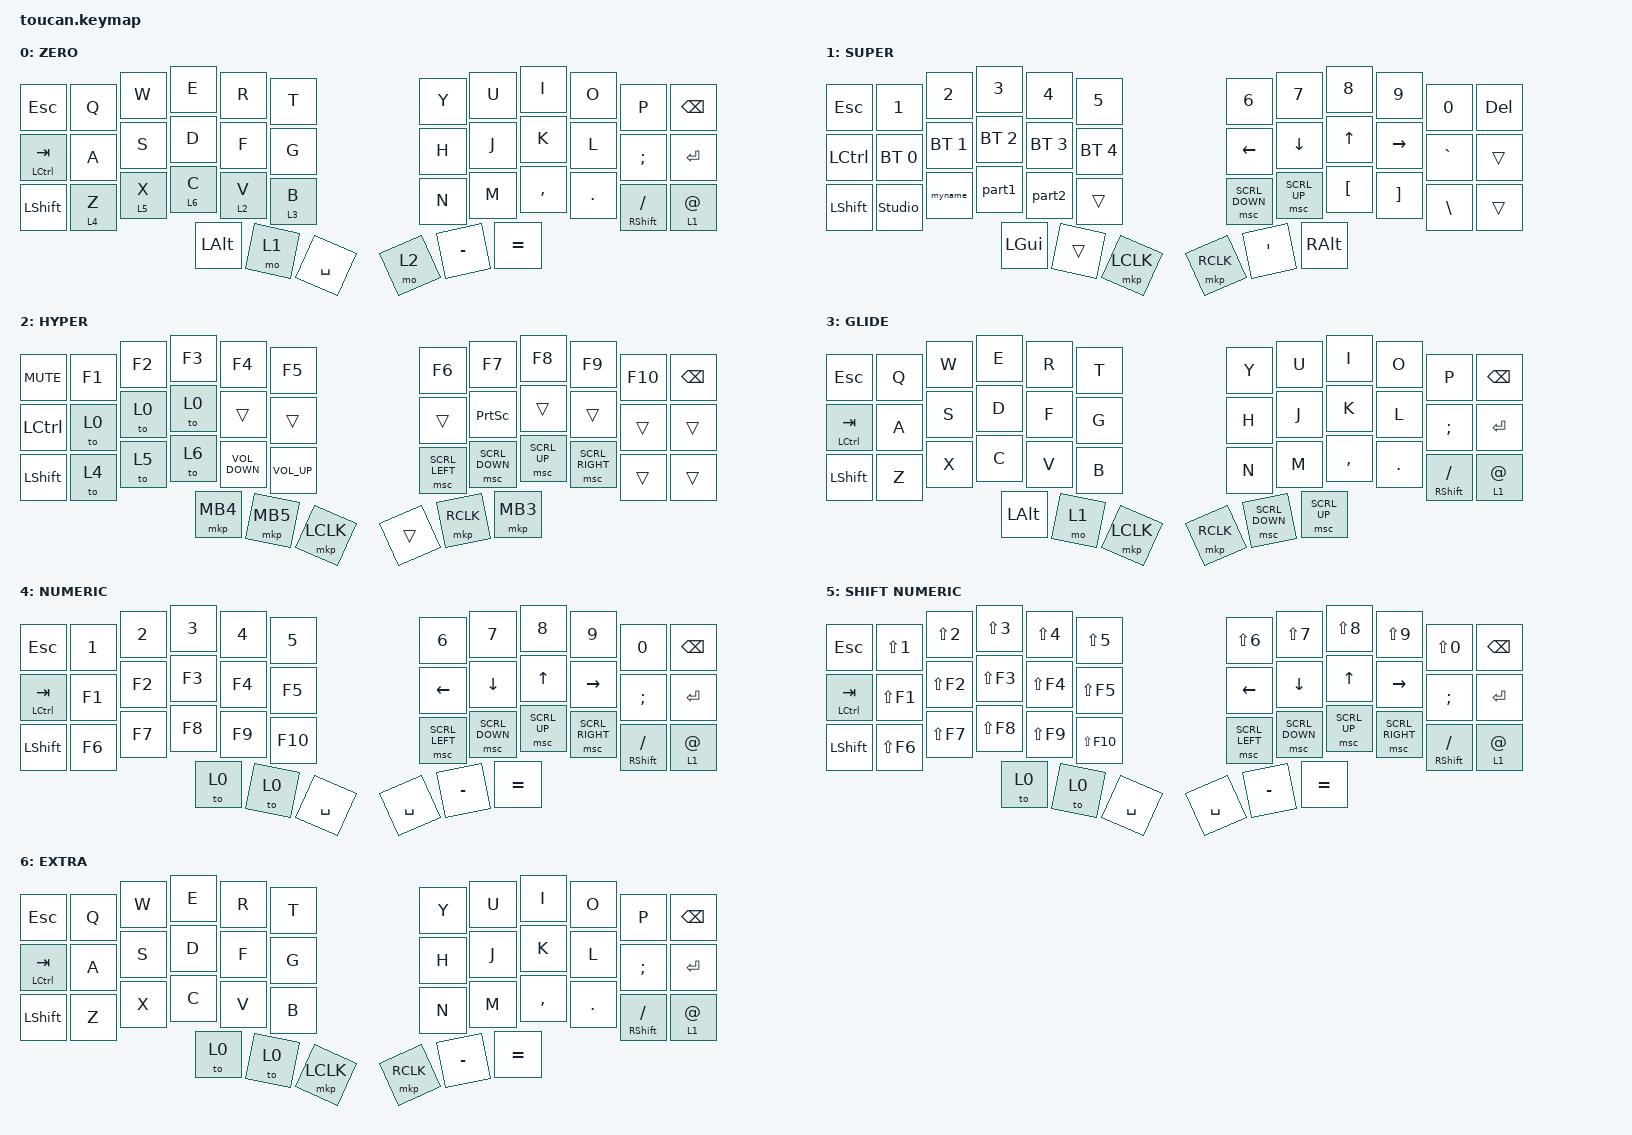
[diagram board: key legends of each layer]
#include <input/processors.dtsi>
#include <behaviors.dtsi>
#include <dt-bindings/zmk/bt.h>
#include <dt-bindings/zmk/keys.h>
#include <dt-bindings/zmk/pointing.h>

#define BASE 0
#define NAV  1
#define SYM  2
#define ADJ  3

/ {
    conditional_layers { compatible = "zmk,conditional-layers"; };

    macros {
        part1: part1 {
            compatible = "zmk,behavior-macro";
            #binding-cells = <0>;
            bindings = <&none &kp DOT &kp X &kp X &kp AT &kp X &kp X &kp X &kp X &kp X &kp X &kp X &kp X &kp X &kp X &kp X &kp X &kp X &kp X &kp X &kp X &kp X &kp X &kp X>;
            label = "PART1";
            wait-ms = <50>;
            tap-ms = <50>;
        };

        myname: myname {
            compatible = "zmk,behavior-macro";
            #binding-cells = <0>;
            bindings = <&none &kp X &kp X &kp X &kp X &kp X &kp X &kp X &kp X &kp X &kp X &kp X &kp X &kp X &kp X &kp X &kp X>;
            label = "MYNAME";
            wait-ms = <50>;
            tap-ms = <50>;
        };

        part2: part2 {
            compatible = "zmk,behavior-macro";
            #binding-cells = <0>;
            bindings = <&none &kp X &kp X &kp X &kp X &kp X &kp X &kp X>;
            label = "PART2";
        };
    };

    combos { compatible = "zmk,combos"; };

    keymap {
        compatible = "zmk,keymap";

        zero {
            display-name = "ZERO";
            bindings = <
&kp ESC  &kp Q  &kp W  &kp E  &kp R  &kp T  &kp Y  &kp U  &kp I  &kp O  &kp P  &kp BSPC  &mt LCTRL TAB  &kp A  &kp S  &kp D  &kp F  &kp G  &kp H  &kp J  &kp K  &kp L  &kp SEMI  &kp ENTER  &kp LSHFT  &lt 4 Z  &lt 5 X  &lt 6 C  &lt 2 V  &lt 3 B  &kp N  &kp M  &kp COMMA  &kp DOT  &mt RSHIFT FSLH  &lt 1 AT_SIGN  &kp LEFT_ALT  &mo 1  &kp SPACE  &mo 2  &kp MINUS  &kp EQUAL
            >;
        };

        supr {
            display-name = "SUPER";
            bindings = <
&kp ESC  &kp N1  &kp N2  &kp N3  &kp N4  &kp N5  &kp N6  &kp N7  &kp N8  &kp N9  &kp N0  &kp DELETE  &kp LEFT_CONTROL  &bt BT_SEL 0  &bt BT_SEL 1  &bt BT_SEL 2  &bt BT_SEL 3  &bt BT_SEL 4  &kp LEFT  &kp DOWN  &kp UP  &kp RIGHT  &kp GRAVE  &trans  &kp LSHFT  &studio_unlock  &myname  &part1  &part2  &trans  &msc SCRL_DOWN  &msc SCRL_UP  &kp LEFT_BRACKET  &kp RIGHT_BRACKET  &kp BACKSLASH  &trans  &kp LGUI  &trans  &mkp LCLK  &mkp RCLK  &kp SQT  &kp RALT
            >;
        };

        hypr {
            display-name = "HYPER";
            bindings = <
&kp K_MUTE  &kp F1  &kp F2  &kp F3  &kp F4  &kp F5  &kp F6  &kp F7  &kp F8  &kp F9  &kp F10  &kp BSPC  &kp LCTRL  &to 0  &to 0  &to 0  &trans  &trans  &trans  &kp PRINTSCREEN  &trans  &trans  &trans  &trans  &kp LSHFT  &to 4  &to 5  &to 6  &kp C_VOLUME_DOWN  &kp C_VOLUME_UP  &msc SCRL_LEFT  &msc SCRL_DOWN  &msc SCRL_UP  &msc SCRL_RIGHT  &trans  &trans  &mkp MB4  &mkp MB5  &mkp LCLK  &trans  &mkp RCLK  &mkp MB3
            >;
        };

        glide {
            display-name = "GLIDE";
            bindings = <
&kp ESC  &kp Q  &kp W  &kp E  &kp R  &kp T  &kp Y  &kp U  &kp I  &kp O  &kp P  &kp BACKSPACE  &mt LCTRL TAB  &kp A  &kp S  &kp D  &kp F  &kp G  &kp H  &kp J  &kp K  &kp L  &kp SEMICOLON  &kp ENTER  &kp LEFT_SHIFT  &kp Z  &kp X  &kp C  &kp V  &kp B  &kp N  &kp M  &kp COMMA  &kp PERIOD  &mt RIGHT_SHIFT SLASH  &lt 1 AT_SIGN  &kp LEFT_ALT  &mo 1  &mkp LCLK  &mkp RCLK  &msc SCRL_DOWN  &msc SCRL_UP
            >;
        };

        numeric {
            display-name = "NUMERIC";
            bindings = <
&kp ESC  &kp NUMBER_1  &kp NUMBER_2  &kp NUMBER_3  &kp NUMBER_4  &kp N5  &kp NUMBER_6  &kp N7  &kp N8  &kp N9  &kp N0  &kp BACKSPACE  &mt LCTRL TAB  &kp F1  &kp F2  &kp F3  &kp F4  &kp F5  &kp LEFT  &kp DOWN  &kp UP  &kp RIGHT  &kp SEMICOLON  &kp ENTER  &kp LEFT_SHIFT  &kp F6  &kp F7  &kp F8  &kp F9  &kp F10  &msc SCRL_LEFT  &msc SCRL_DOWN  &msc SCRL_UP  &msc SCRL_RIGHT  &mt RIGHT_SHIFT SLASH  &lt 1 AT_SIGN  &to 0  &to 0  &kp SPACE  &kp SPACE  &kp MINUS  &kp EQUAL
            >;
        };

        shifted {
            display-name = "SHIFT NUMERIC";
            bindings = <
&kp ESC  &kp LS(NUMBER_1)  &kp LS(NUMBER_2)  &kp LS(NUMBER_3)  &kp LS(NUMBER_4)  &kp LS(N5)  &kp LS(NUMBER_6)  &kp LS(N7)  &kp LS(N8)  &kp LS(N9)  &kp LS(N0)  &kp BACKSPACE  &mt LCTRL TAB  &kp LS(F1)  &kp LS(F2)  &kp LS(F3)  &kp LS(F4)  &kp LS(F5)  &kp LEFT  &kp DOWN  &kp UP  &kp RIGHT  &kp SEMICOLON  &kp ENTER  &kp LEFT_SHIFT  &kp LS(F6)  &kp LS(F7)  &kp LS(F8)  &kp LS(F9)  &kp LS(F10)  &msc SCRL_LEFT  &msc SCRL_DOWN  &msc SCRL_UP  &msc SCRL_RIGHT  &mt RIGHT_SHIFT SLASH  &lt 1 AT_SIGN  &to 0  &to 0  &kp SPACE  &kp SPACE  &kp MINUS  &kp EQUAL
            >;
        };

        extra3 {
            display-name = "EXTRA";
            bindings = <
&kp ESC  &kp Q  &kp W  &kp E  &kp R  &kp T  &kp Y  &kp U  &kp I  &kp O  &kp P  &kp BACKSPACE  &mt LCTRL TAB  &kp A  &kp S  &kp D  &kp F  &kp G  &kp H  &kp J  &kp K  &kp L  &kp SEMICOLON  &kp ENTER  &kp LEFT_SHIFT  &kp Z  &kp X  &kp C  &kp V  &kp B  &kp N  &kp M  &kp COMMA  &kp PERIOD  &mt RIGHT_SHIFT SLASH  &lt 1 AT_SIGN  &to 0  &to 0  &mkp LCLK  &mkp RCLK  &kp MINUS  &kp EQUAL
            >;
        };
    };
};

&mkp_input_listener { input-processors = <&zip_temp_layer 3 1000>; };
